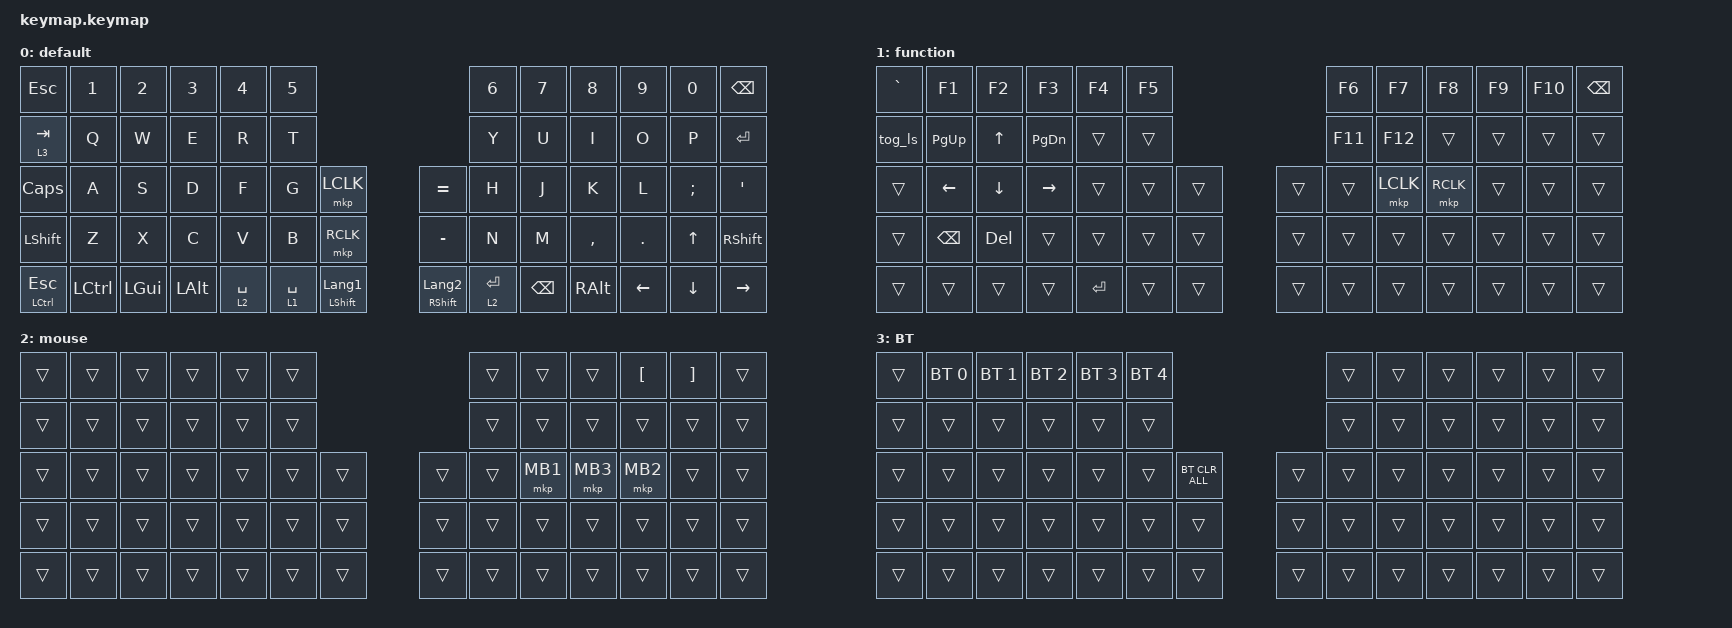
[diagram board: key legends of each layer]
#include <behaviors.dtsi>
#include <dt-bindings/zmk/bt.h>
#include <dt-bindings/zmk/keys.h>
#include <dt-bindings/zmk/pointing.h>
#include <layout_shift_kp_override.dtsi>

/ {
    combos {
        compatible = "zmk,combos";

        bt_clear {
            bindings = <&bt BT_CLR>;
            key-positions = <28 29>;
        };
    };

    keymap {
        compatible = "zmk,keymap";

        default {
            bindings = <
&kp ESC       &kp N1     &kp N2    &kp N3    &kp N4         &kp N5                                                         &kp N6       &kp N7    &kp N8     &kp N9    &kp N0    &kp BSPC
&lt 3 TAB     &kp Q      &kp W     &kp E     &kp R          &kp T                                                          &kp Y        &kp U     &kp I      &kp O     &kp P     &kp ENTER
&kp CAPS      &kp A      &kp S     &kp D     &kp F          &kp G        &mkp LCLK                  &kp EQUAL              &kp H        &kp J     &kp K      &kp L     &kp SEMI  &kp SQT
&kp LSHFT     &kp Z      &kp X     &kp C     &kp V          &kp B        &mkp RCLK                  &kp MINUS              &kp N        &kp M     &kp COMMA  &kp DOT   &kp UP    &kp RSHFT
&mt LCTL ESC  &kp LCTRL  &kp LGUI  &kp LALT  &lt 2 SPACE    &lt 1 SPACE  &mt LEFT_SHIFT LANGUAGE_1  &mt RSHIFT LANGUAGE_2  &lt 2 ENTER  &kp BSPC  &kp RALT   &kp LEFT  &kp DOWN  &kp RIGHT
            >;
        };

        function {
            bindings = <
&kp GRAVE  &kp F1     &kp F2    &kp F3     &kp F4     &kp F5                  &kp F6   &kp F7     &kp F8     &kp F9  &kp F10  &kp BSPC
&tog_ls    &kp PG_UP  &kp UP    &kp PG_DN  &trans     &trans                  &kp F11  &kp F12    &trans     &trans  &trans   &trans
&trans     &kp LEFT   &kp DOWN  &kp RIGHT  &trans     &trans  &trans  &trans  &trans   &mkp LCLK  &mkp RCLK  &trans  &trans   &trans
&trans     &kp BKSP   &kp DEL   &trans     &trans     &trans  &trans  &trans  &trans   &trans     &trans     &trans  &trans   &trans
&trans     &trans     &trans    &trans     &kp ENTER  &trans  &trans  &trans  &trans   &trans     &trans     &trans  &trans   &trans
            >;
        };

        mouse {
            bindings = <
&trans  &trans  &trans  &trans  &trans  &trans                  &trans  &trans    &trans    &kp LBKT  &kp RBKT &trans
&trans  &trans  &trans  &trans  &trans  &trans                  &trans  &trans    &trans    &trans    &trans   &trans
&trans  &trans  &trans  &trans  &trans  &trans  &trans  &trans  &trans  &mkp MB1  &mkp MB3  &mkp MB2  &trans   &trans
&trans  &trans  &trans  &trans  &trans  &trans  &trans  &trans  &trans  &trans    &trans    &trans    &trans   &trans
&trans  &trans  &trans  &trans  &trans  &trans  &trans  &trans  &trans  &trans    &trans    &trans    &trans   &trans
            >;
        };

        BT {
            bindings = <
&trans  &bt BT_SEL 0  &bt BT_SEL 1  &bt BT_SEL 2  &bt BT_SEL 3  &bt BT_SEL 4                          &trans  &trans  &trans  &trans  &trans  &trans
&trans  &trans        &trans        &trans        &trans        &trans                                &trans  &trans  &trans  &trans  &trans  &trans
&trans  &trans        &trans        &trans        &trans        &trans        &bt BT_CLR_ALL  &trans  &trans  &trans  &trans  &trans  &trans  &trans
&trans  &trans        &trans        &trans        &trans        &trans        &trans          &trans  &trans  &trans  &trans  &trans  &trans  &trans
&trans  &trans        &trans        &trans        &trans        &trans        &trans          &trans  &trans  &trans  &trans  &trans  &trans  &trans
            >;
        };
    };
};
